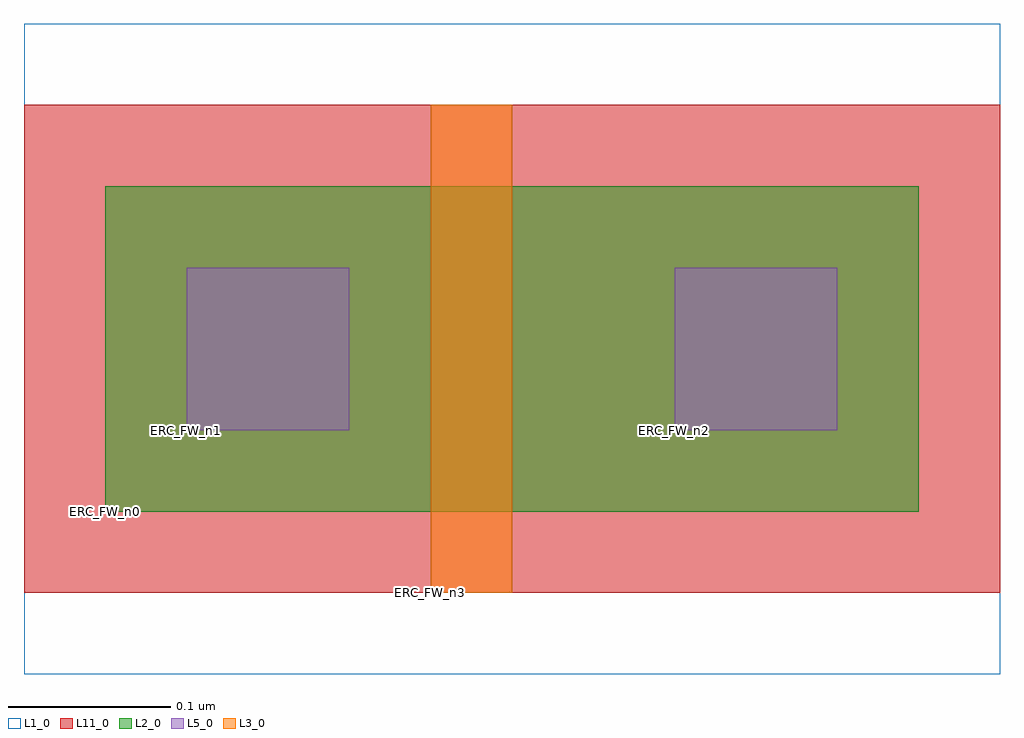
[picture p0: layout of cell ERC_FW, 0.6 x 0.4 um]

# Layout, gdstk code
import gdstk
lib = gdstk.Library(unit=1e-6, precision=1e-09)
def R(c, l, rs):  # rectangles x0, y0, x1, y1
    for r in rs: c.add(gdstk.rectangle(r[:2], r[2:], *l))
L1_0 = (1, 0)
L2_0 = (2, 0)
L3_0 = (3, 0)
L5_0 = (5, 0)
L11_0 = (11, 0)

erc_fw = lib.new_cell('ERC_FW')
R(erc_fw, L1_0, [(0,0,0.6,0.4)])
R(erc_fw, L2_0, [(0.05,0.1,0.55,0.3)])
R(erc_fw, L3_0, [(0.25,0.05,0.3,0.35)])
R(erc_fw, L5_0, [(0.1,0.15,0.2,0.25), (0.4,0.15,0.5,0.25)])
R(erc_fw, L11_0, [(0,0.05,0.6,0.35)])
erc_fw.add(gdstk.Label('ERC_FW_n0', (0.05,0.1), layer=2, texttype=5))
erc_fw.add(gdstk.Label('ERC_FW_n1', (0.1,0.15), layer=5, texttype=5))
erc_fw.add(gdstk.Label('ERC_FW_n2', (0.4,0.15), layer=5, texttype=5))
erc_fw.add(gdstk.Label('ERC_FW_n3', (0.25,0.05), layer=3, texttype=5))

lib.write_gds('ERC_FW.gds')
